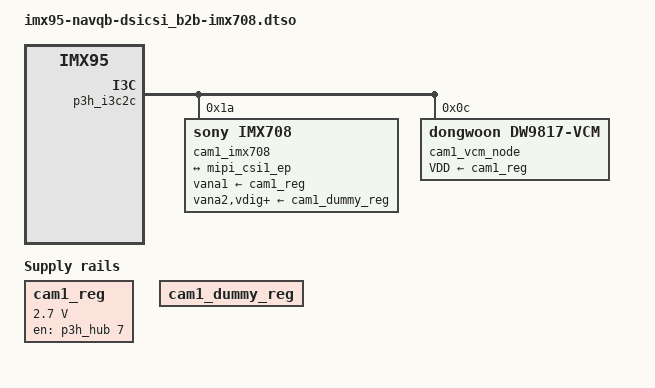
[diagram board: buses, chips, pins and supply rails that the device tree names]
// SPDX-License-Identifier: (GPL-2.0+ OR MIT)
/*
 * Copyright 2026 NXP
 *
 * NavQ-B port B (CSI/DSI combo connector) in camera mode:
 * Sony IMX708 on MIPI CSI1. Mutually exclusive with a display overlay.
 */

/dts-v1/;
/plugin/;

#include <dt-bindings/gpio/gpio.h>

/*
 * The Raspberry Pi Camera Module 3 (IMX708) carries its own on-board
 * 24 MHz oscillator, so model the sensor input clock as a fixed-clock
 * rather than sourcing it from the SoC cam24m output.
 */
&{/} {
	cam1_imx708_clk: cam1-imx708-clk {
		compatible = "fixed-clock";
		#clock-cells = <0>;
		clock-frequency = <24000000>;
		status = "okay";
	};

	cam1_reg: cam1_reg {
		compatible = "regulator-fixed";
		regulator-name = "cam1_reg";
		startup-delay-us = <70000>;
		off-on-delay-us = <30000>;
		regulator-min-microvolt = <2700000>;
		regulator-max-microvolt = <2700000>;
		enable-active-high;
		gpio = <&p3h_hub 7 GPIO_ACTIVE_HIGH>;
	};

	cam1_dummy_reg: cam_dummy_reg {
		compatible = "regulator-fixed";
		regulator-name = "cam-dummy-reg";
	};
};

&p3h_i3c2c {
	#address-cells = <1>;
	#size-cells = <0>;

	cam1_imx708: imx708@1a {
		compatible = "sony,imx708";
		reg = <0x1a>;
		clocks = <&cam1_imx708_clk>;
		clock-names = "inclk";

		vana1-supply = <&cam1_reg>;			/* 2.8v */
		vana2-supply = <&cam1_dummy_reg>;	/* 1.8v */
		vdig-supply = <&cam1_dummy_reg>;	/* 1.1v */
		vddl-supply = <&cam1_dummy_reg>;	/* 1.8v */

		lens-focus = <&cam1_vcm_node>;

		rotation = <180>;
		orientation = <2>;
		status = "okay";

		port {
			cam1_sensor_ep: endpoint {
				remote-endpoint = <&mipi_csi1_ep>;
				data-lanes = <1 2>;
				clock-lanes = <0>;
				clock-noncontinous;
				link-frequencies = /bits/ 64 <450000000>;
			};
		};
	};

	cam1_vcm_node: dw9817@c {
		compatible = "dongwoon,dw9817-vcm";
		reg = <0x0c>;
		status = "okay";
		VDD-supply = <&cam1_reg>;
	};
};

#include "imx95-navqb-csi1-pipeline.dtsi"
